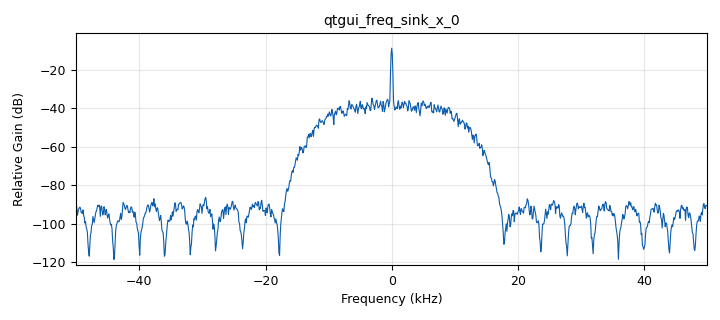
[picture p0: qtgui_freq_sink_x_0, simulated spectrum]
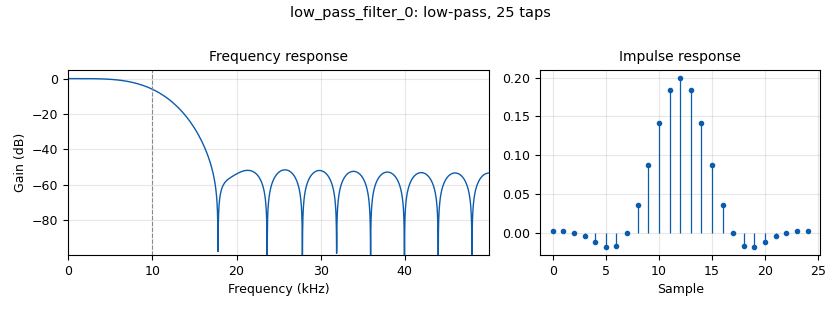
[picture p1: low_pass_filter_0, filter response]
options:
  parameters:
    generate_options: qt_gui
    id: radar_lite_test
    output_language: python
    title: Not titled yet
  states: {}

blocks:
- name: LowPassFilter
  id: variable_qtgui_chooser
  parameters:
    label0: 'Yes'
    label1: 'No'
    num_opts: '2'
    option0: (1,0)
    option1: (0,1)
    type: raw
    value: (1,0)
    widget: radio_buttons
  states: {}
- name: TargetVelocity
  id: variable_qtgui_chooser
  parameters:
    label0: Velocity 1
    label1: Velocity 2
    label2: Velocity 3
    num_opts: '3'
    option0: '1'
    option1: '2'
    option2: '3'
    type: int
    value: '1'
    widget: radio_buttons
  states: {}
- name: bandwidth
  id: variable_qtgui_chooser
  parameters:
    label0: 100KHz
    label1: 200KHz
    label2: 500KHz
    num_opts: '3'
    option0: '100000'
    option1: '200000'
    option2: '500000'
    type: int
    value: '100000'
    widget: radio_buttons
  states: {}
- name: frequency
  id: variable_qtgui_chooser
  parameters:
    label0: 800MHz
    label1: 1200MHz
    label2: 1800MHz
    num_opts: '3'
    option0: '800000000'
    option1: '1200000000'
    option2: '1800000000'
    type: int
    value: '800000000'
    widget: radio_buttons
  states: {}
- name: analog_noise_source_x_0
  id: analog_noise_source_x
  parameters:
    amp: '1'
    noise_type: analog.GR_GAUSSIAN
    seed: '0'
    type: complex
  states: {}
- name: analog_sig_source_x_0
  id: analog_sig_source_x
  parameters:
    amp: '1'
    freq: frequency
    offset: '0'
    phase: '0'
    samp_rate: bandwidth
    type: complex
    waveform: analog.GR_COS_WAVE
  states: {}
- name: blocks_add_xx_0
  id: blocks_add_xx
  parameters:
    type: complex
  states: {}
- name: blocks_throttle_0
  id: blocks_throttle
  parameters:
    samples_per_second: bandwidth
    type: complex
  states: {}
- name: low_pass_filter_0
  id: low_pass_filter
  parameters:
    cutoff_freq: bandwidth/10
    decim: '1'
    gain: '1'
    samp_rate: bandwidth
    type: fir_filter_ccf
    width: bandwidth/10
    win: window.WIN_HAMMING
  states: {}
- name: qtgui_freq_sink_x_0
  id: qtgui_freq_sink_x
  parameters:
    autoscale: 'True'
    average: '0.2'
    bw: bandwidth
    fc: '0'
    fftsize: '1024'
    type: complex
  states: {}

connections:
- [analog_noise_source_x_0, '0', blocks_add_xx_0, '1']
- [analog_sig_source_x_0, '0', blocks_add_xx_0, '0']
- [blocks_add_xx_0, '0', blocks_throttle_0, '0']
- [blocks_throttle_0, '0', low_pass_filter_0, '0']
- [low_pass_filter_0, '0', qtgui_freq_sink_x_0, '0']

metadata:
  file_format: 1
